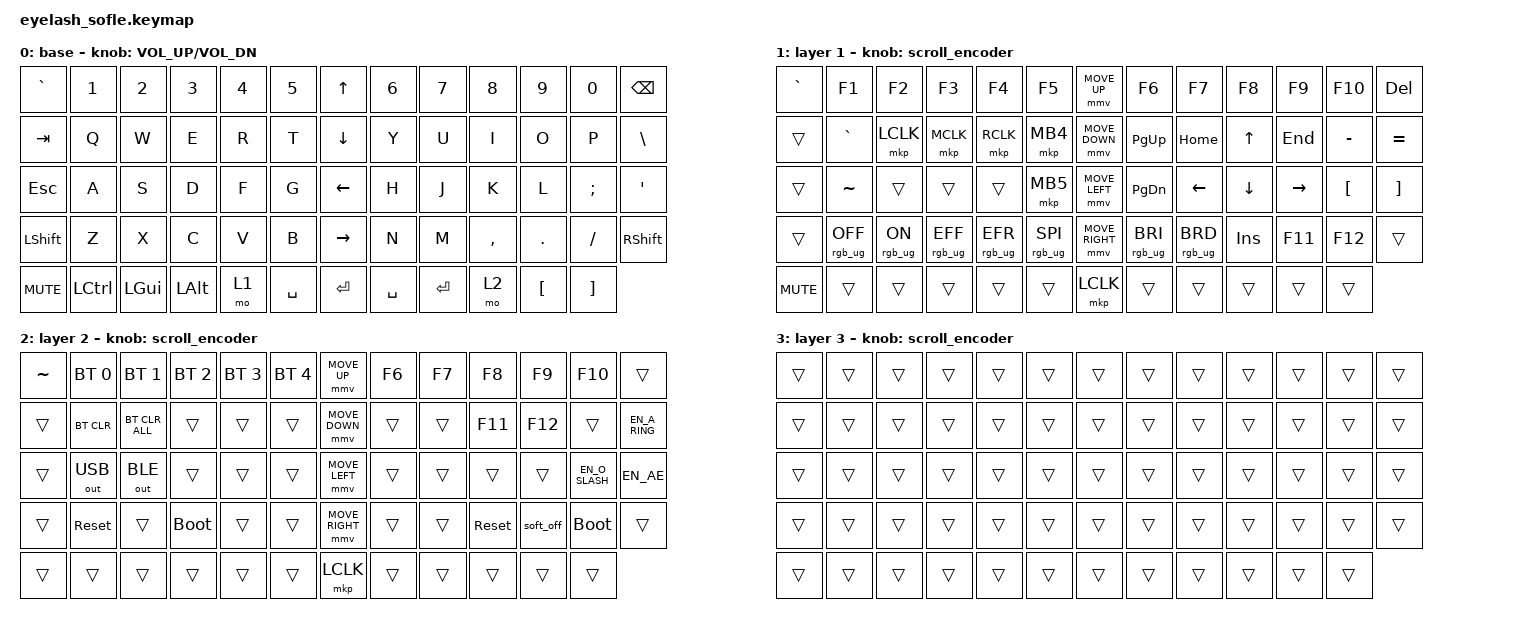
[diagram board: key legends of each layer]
#define ZMK_POINTING_DEFAULT_MOVE_VAL 1200  // 600
#define ZMK_POINTING_DEFAULT_SCRL_VAL 25   // 10

#include <input/processors.dtsi>
#include <zephyr/dt-bindings/input/input-event-codes.h>
#include <behaviors.dtsi>
#include <dt-bindings/zmk/bt.h>
#include <dt-bindings/zmk/keys.h>
#include <dt-bindings/zmk/outputs.h>
#include <dt-bindings/zmk/pointing.h>
#include <dt-bindings/zmk/rgb.h>
#include <locale/keys_us_international.h>
#include <behaviors/unicode.dtsi>

&mmv_input_listener { input-processors = <&zip_xy_scaler 2 1>; };

&msc_input_listener { input-processors = <&zip_scroll_scaler 2 1>; };

&msc {
    acceleration-exponent = <1>;      // 0
    time-to-max-speed-ms = <100>;     // 300
    delay-ms = <0>;                   // 0
};

&mmv {
    time-to-max-speed-ms = <500>;
    acceleration-exponent = <1>;
    trigger-period-ms = <16>;
};

&soft_off { hold-time-ms = <2000>; };

/ {
    macros
    {
        aa_lowcase: aa_lowcase {
            label = "å";
            compatible = "zmk,behavior-macro";
            wait-ms = <40>;
            tap-ms = <40>;
            #binding-cells = <0>;
            bindings
                = <&macro_press   &kp LALT>
                , <&macro_tap     &kp KP_N0 &kp KP_N2 &kp KP_N2 &kp KP_N9>
                , <&macro_release &kp LALT>
                ;
        };
        ae_lowcase: ae_lowcase {
            label = "æ";
            compatible = "zmk,behavior-macro";
            wait-ms = <40>;
            tap-ms = <40>;
            #binding-cells = <0>;
            bindings
                = <&macro_press   &kp LALT>
                , <&macro_tap     &kp KP_N0 &kp KP_N2 &kp KP_N3 &kp KP_N0>
                , <&macro_release &kp LALT>
                ;
        };
        oe_lowcase: oe_lowcase {
            label = "ø";
            compatible = "zmk,behavior-macro";
            wait-ms = <40>;
            tap-ms = <40>;
            #binding-cells = <0>;
            bindings
                = <&macro_press   &kp LALT>
                , <&macro_tap     &kp KP_N0 &kp KP_N2 &kp KP_N4 &kp KP_N8>
                , <&macro_release &kp LALT>
                ;
        };
        aa_uppercase: aa_uppercase {
            label = "Å";
            compatible = "zmk,behavior-macro";
            wait-ms = <40>;
            tap-ms = <40>;
            #binding-cells = <0>;
            bindings
                = <&macro_press   &kp LALT>
                , <&macro_tap     &kp KP_N0 &kp KP_N1 &kp KP_N9 &kp KP_N7>
                , <&macro_release &kp LALT>
                ;
        };
        ae_uppercase: ae_uppercase {
            label = "Æ";
            compatible = "zmk,behavior-macro";
            wait-ms = <40>;
            tap-ms = <40>;
            #binding-cells = <0>;
            bindings
                = <&macro_press   &kp LALT>
                , <&macro_tap     &kp KP_N0 &kp KP_N1 &kp KP_N9 &kp KP_N8>
                , <&macro_release &kp LALT>
                ;
        };
        oe_uppercase: oe_uppercase {
            label = "Ø";
            compatible = "zmk,behavior-macro";
            wait-ms = <40>;
            tap-ms = <40>;
            #binding-cells = <0>;
            bindings
                = <&macro_press   &kp LALT>
                , <&macro_tap     &kp KP_N0 &kp KP_N2 &kp KP_N1 &kp KP_N6>
                , <&macro_release &kp LALT>
                ;
        };
    };

    behaviors {
        no_aa: no_aa {
            compatible = "zmk,behavior-mod-morph";
            #binding-cells = <0>;
            bindings = <&aa_lowcase>, <&aa_uppercase>;
            mods = <(MOD_LSFT)>;
        };
        no_ae: no_ae {
            compatible = "zmk,behavior-mod-morph";
            #binding-cells = <0>;
            bindings = <&ae_lowcase>, <&ae_uppercase>;
            mods = <(MOD_LSFT)>;
        };
        no_oe: no_oe{
            compatible = "zmk,behavior-mod-morph";
            #binding-cells = <0>;
            bindings = <&oe_lowcase>, <&oe_uppercase>;
            mods = <(MOD_LSFT)>;
        };
    };

    scroll_encoder: scroll_encoder {
        compatible = "zmk,behavior-sensor-rotate";
        #sensor-binding-cells = <0>;
        bindings = <&msc SCRL_DOWN>, <&msc SCRL_UP>;

        tap-ms = <100>;
    };

    combos {
        compatible = "zmk,combos";

        softoff {
            bindings = <&soft_off>;
            key-positions = <14 28 40>;
        };
    };

    keymap {
        compatible = "zmk,keymap";

        layer_0 {
            bindings = <
&kp GRAVE   &kp N1     &kp N2        &kp N3        &kp N4  &kp N5       &kp UP_ARROW     &kp N6     &kp N7     &kp N8     &kp N9            &kp N0             &kp BACKSPACE
&kp TAB     &kp Q      &kp W         &kp E         &kp R   &kp T        &kp DOWN_ARROW   &kp Y      &kp U      &kp I      &kp O             &kp P              &kp BACKSLASH
&kp ESC     &kp A      &kp S         &kp D         &kp F   &kp G        &kp LEFT_ARROW   &kp H      &kp J      &kp K      &kp L             &kp SEMICOLON      &kp SINGLE_QUOTE
&kp LSHFT   &kp Z      &kp X         &kp C         &kp V   &kp B        &kp RIGHT_ARROW  &kp N      &kp M      &kp COMMA  &kp DOT           &kp FSLH           &kp RSHFT
&kp C_MUTE  &kp LCTRL  &kp LEFT_GUI  &kp LEFT_ALT  &mo 1   &kp SPACE    &kp ENTER        &kp SPACE  &kp ENTER  &mo 2      &kp LEFT_BRACKET  &kp RIGHT_BRACKET
            >;

            display-name = "base";
            sensor-bindings = <&inc_dec_kp C_VOLUME_UP C_VOL_DN>;
        };

        layer_1 {
            bindings = <
&kp GRAVE   &kp F1           &kp F2          &kp F3           &kp F4           &kp F5             &mmv MOVE_UP     &kp F6           &kp F7           &kp F8      &kp F9     &kp F10           &kp DELETE
&trans      &kp GRAVE        &mkp LCLK       &mkp MCLK        &mkp RCLK        &mkp MB4           &mmv MOVE_DOWN   &kp PG_UP        &kp HOME         &kp UP      &kp END    &kp MINUS         &kp EQUAL
&trans      &kp TILDE        &trans          &trans           &trans           &mkp MB5           &mmv MOVE_LEFT   &kp PG_DN        &kp LEFT         &kp DOWN    &kp RIGHT  &kp LEFT_BRACKET  &kp RIGHT_BRACKET
&trans      &rgb_ug RGB_OFF  &rgb_ug RGB_ON  &rgb_ug RGB_EFF  &rgb_ug RGB_EFR  &rgb_ug RGB_SPI    &mmv MOVE_RIGHT  &rgb_ug RGB_BRI  &rgb_ug RGB_BRD  &kp INSERT  &kp F11    &kp F12           &trans
&kp C_MUTE  &trans           &trans          &trans           &trans           &trans             &mkp LCLK        &trans           &trans           &trans      &trans     &trans
            >;

            display-name = "layer 1";
            sensor-bindings = <&scroll_encoder>;
        };

        layer_2 {
            bindings = <
&kp TILDE  &bt BT_SEL 0  &bt BT_SEL 1    &bt BT_SEL 2  &bt BT_SEL 3  &bt BT_SEL 4    &mmv MOVE_UP     &kp F6  &kp F7  &kp F8      &kp F9     &kp F10         &trans
&trans     &bt BT_CLR    &bt BT_CLR_ALL  &trans        &trans        &trans          &mmv MOVE_DOWN   &trans  &trans  &kp F11     &kp F12    &trans          &kp EN_A_RING
&trans     &out OUT_USB  &out OUT_BLE    &trans        &trans        &trans          &mmv MOVE_LEFT   &trans  &trans  &trans      &trans     &kp EN_O_SLASH  &kp EN_AE
&trans     &sys_reset    &trans          &bootloader   &trans        &trans          &mmv MOVE_RIGHT  &trans  &trans  &sys_reset  &soft_off  &bootloader     &trans
&trans     &trans        &trans          &trans        &trans        &trans          &mkp LCLK        &trans  &trans  &trans      &trans     &trans
            >;

            display-name = "layer 2";
            sensor-bindings = <&scroll_encoder>;
        };

        layer_3 {
            bindings = <
&trans  &trans  &trans  &trans  &trans  &trans    &trans  &trans  &trans  &trans  &trans  &trans  &trans
&trans  &trans  &trans  &trans  &trans  &trans    &trans  &trans  &trans  &trans  &trans  &trans  &trans
&trans  &trans  &trans  &trans  &trans  &trans    &trans  &trans  &trans  &trans  &trans  &trans  &trans
&trans  &trans  &trans  &trans  &trans  &trans    &trans  &trans  &trans  &trans  &trans  &trans  &trans
&trans  &trans  &trans  &trans  &trans  &trans    &trans  &trans  &trans  &trans  &trans  &trans
            >;

            display-name = "layer 3";
            sensor-bindings = <&scroll_encoder>;
        };
    };
};
